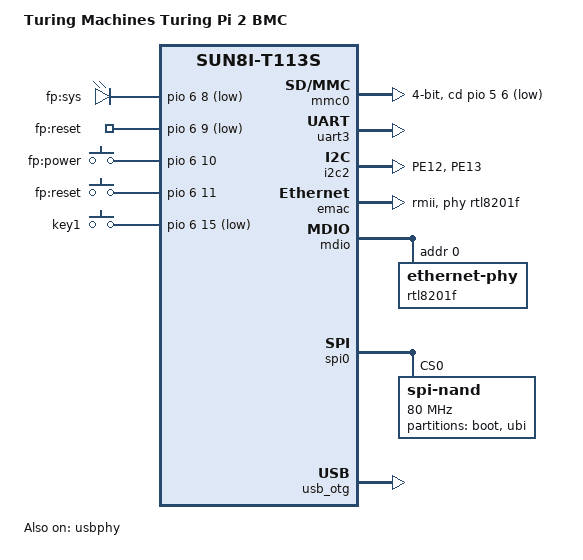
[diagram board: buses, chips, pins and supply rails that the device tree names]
// SPDX-License-Identifier: GPL-2.0+
// Copyright (C) 2023 Sam Edwards <CFSworks@gmail.com>

/dts-v1/;

#include "sun8i-t113s.dtsi"
#include <dt-bindings/gpio/gpio.h>
#include <dt-bindings/input/input.h>

/ {
	model = "Turing Machines Turing Pi 2 BMC";
	compatible = "turingmachines,tp2bmc", "allwinner,sun8i-t113s", "allwinner,r528";

	aliases {
		ethernet0 = &emac;
		serial3 = &uart3;
	};

	chosen {
		stdout-path = "serial3:115200n8";
	};

	// The LEDs are actually GPIO lines that go to the front-panel LEDs.
	leds {
		compatible = "gpio-leds";

		sys {
			label = "fp:sys";
			gpios = <&pio 6 8 GPIO_ACTIVE_LOW>; /* PG8 */
		};

		reset {
			label = "fp:reset";
			gpios = <&pio 6 9 GPIO_ACTIVE_LOW>; /* PG9 */
		};
	};

	// The keys are also GPIO lines.
	keys {
		compatible = "gpio-keys";

		// Part of the front-panel connector
		power {
			label = "fp:power";
			linux,code = <KEY_POWER>;
			gpios = <&pio 6 10 GPIO_ACTIVE_HIGH>; /* PG10 */
		};

		reset {
			label = "fp:reset";
			linux,code = <KEY_RESTART>;
			gpios = <&pio 6 11 GPIO_ACTIVE_HIGH>; /* PG11 */
		};

		// Located on the board itself
		key1 {
			label = "key1";
			linux,code = <KEY_1>;
			gpios = <&pio 6 15 GPIO_ACTIVE_LOW>; /* PG15 */
		};
	};

};

&dcxo {
	clock-frequency = <24000000>;
};

&cpu0 {
	//cpu-supply = <&reg_vcc_core>;
};

&cpu1 {
	//cpu-supply = <&reg_vcc_core>;
};

&pio {
	i2c2_pe_pins: i2c2-pe-pins {
		pins = "PE12", "PE13";
		function = "i2c2";
		drive-strength = <10>;
	};
};

&mmc0 {
	status = "okay";

	pinctrl-names = "default";
	pinctrl-0 = <&mmc0_pins>;

	bus-width = <4>;
	cd-gpios = <&pio 5 6 (GPIO_ACTIVE_LOW | GPIO_PULL_UP)>; /* PF6 */
	cd-used-24M;
	cap-sd-highspeed;
	no-sdio;
	no-mmc;
};

&uart3 {
	status = "okay";

	pinctrl-names = "default";
	pinctrl-0 = <&uart3_pb_pins>;
};

&i2c2 {
	status = "okay";

	pinctrl-names = "default";
	pinctrl-0 = <&i2c2_pe_pins>;
};

&emac {
	status = "okay";

	pinctrl-names = "default";
	pinctrl-0 = <&rmii_pe_pins>;

	phy-handle = <&rtl8201f>;
	phy-mode = "rmii";
	allwinner,tx-delay-ps = <300>;
	allwinner,rx-delay-ps = <0>;
	phy-rst = <&pio 4 10 GPIO_ACTIVE_HIGH>; /* PE10 */
};

&mdio {
	rtl8201f: ethernet-phy@0 {
		reg = <0>;
	};
};

&spi0 {
	status = "okay";

	pinctrl-names = "default";
	pinctrl-0 = <&spi0_pins>;

	spi-nand@0 {
		compatible = "spi-nand";
		reg = <0x0>;

		spi-max-frequency=<80000000>;
		//spi-rx-bus-width=<4>;
		//spi-tx-bus-width=<4>;

		partitions {
			compatible = "fixed-partitions";
			#address-cells = <1>;
			#size-cells = <1>;

			partition@0 {
				label = "boot";
				reg = <0x00000000 0x00100000>;
				read-only;
			};

			partition@100000 {
				label = "ubi";
				reg = <0x00100000 0x07f00000>;
			};
		};
	};
};

&usb_otg {
	status = "okay";
};

&usbphy {
	status = "okay";
};
